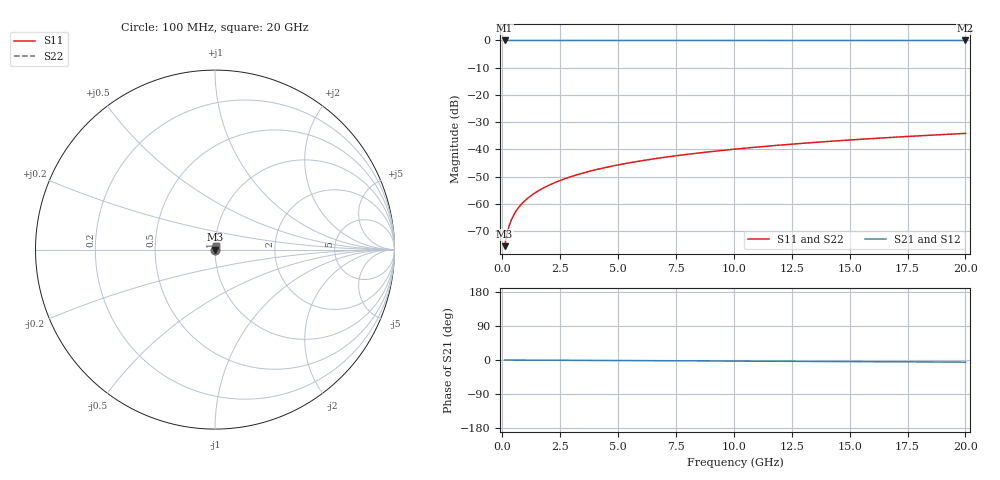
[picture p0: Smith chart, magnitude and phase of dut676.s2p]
! Touchstone file exported from HFSS 2026.1.0
!  File:  C:/ffzhzh/LocalFiles/Ansys_Project_Files/temp_train_TSV_676_1783027306_53980.aedt
!  Generated:  05:23:21 AM Jul  3, 2026
!  Design:  TSV
!  Project:  temp_train_TSV_676_1783027306_53980
! Variables:
!  h_bsmrdl = 2um
!  h_ox = 20um
!  h_rdl = 5um
!  h_sub = 50.1um
!  h_tmrdl = 5um
!  h_tsv = 50.1um
!  h_via = 3um
!  l_bsmrdl = 300um
!  l_sub = 417.78um
!  l_tmrdl = 200um
!  m_sub = 200um
!  pitch = 44.61um
!  r_tsv = 8.89um
!  s_tmrdl = 10um
!  w_bsmrdl = 18um
!  w_sub = 500um
!  w_tmrdl = 12um
!  x_tsv_center1 = 206um
!  x_tsv_center2 = 524um
!  x_tsv_center3 = 736um
!  x_tsv_center4 = 1054um
!  x_tsv_center5 = 1266um
!  x_tsv_center6 = 1584um
# GHz S MA R 50.000000
! Terminal data exported
! Port[1] = TSV1_1_T1
! Port[2] = TSV1_1_T2
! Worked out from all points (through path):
!   200 points, 100 MHz to 20 GHz, reference 50 ohm
!   highest |S21| = 0.00 dB at 100 MHz (marker M1); lowest = 0.0 dB at 20 GHz (marker M2)
!   lowest |S11| = -75.5 dB at 100 MHz (marker M3), VSWR 1.00, Z = 50 + j0.0128 ohm
!   |S11| at or under -10 dB: start of sweep to end of sweep
!   |S22| runs from -75.5 to -34.1 dB; largest |S21 - S12| = 2.1e-15
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0.1  0.0001674 50.1  0.9999 -0.0  0.9999 -0.0  0.0001674 50.1
! Gamma 0 0 0 0
! Port Impedance 50 0 50 0
0.2  0.0002799 65.5  0.9999 -0.1  0.9999 -0.1  0.0002799 65.5
0.3  0.000399 71.2  0.9999 -0.1  0.9999 -0.1  0.000399 71.2
0.4  0.000517 73.8  0.9999 -0.1  0.9999 -0.1  0.000517 73.8
0.5  0.000632 75.3  0.9998 -0.1  0.9998 -0.1  0.000632 75.3
0.6  0.0007438 76.2  0.9998 -0.2  0.9998 -0.2  0.0007438 76.2
0.7  0.0008528 76.9  0.9998 -0.2  0.9998 -0.2  0.0008528 76.9
0.8  0.0009596 77.4  0.9998 -0.2  0.9998 -0.2  0.0009596 77.4
1  0.001168 78.4  0.9998 -0.3  0.9998 -0.3  0.001168 78.4
1.4  0.001577 79.8  0.9997 -0.4  0.9997 -0.4  0.001577 79.8
1.7  0.00188 80.7  0.9997 -0.5  0.9997 -0.5  0.00188 80.7
2  0.002184 81.3  0.9997 -0.6  0.9997 -0.6  0.002184 81.3
2.7  0.002891 82.3  0.9996 -0.8  0.9996 -0.8  0.002891 82.3
3.5  0.003696 82.9  0.9996 -1.0  0.9996 -1.0  0.003696 82.9
4.2  0.004396 83.2  0.9996 -1.2  0.9996 -1.2  0.004396 83.2
5  0.005191 83.4  0.9995 -1.4  0.9995 -1.4  0.005191 83.4
6.8  0.006961 83.5  0.9994 -1.9  0.9994 -1.9  0.006961 83.5
8.3  0.008423 83.5  0.9994 -2.3  0.9994 -2.3  0.008423 83.5
10.1  0.01017 83.4  0.9993 -2.8  0.9993 -2.8  0.01017 83.4
13.4  0.01335 82.9  0.9991 -3.8  0.9991 -3.8  0.01335 82.9
16.7  0.01652 82.3  0.999 -4.7  0.999 -4.7  0.01652 82.3
20  0.01966 81.6  0.9989 -5.6  0.9989 -5.6  0.01966 81.6
